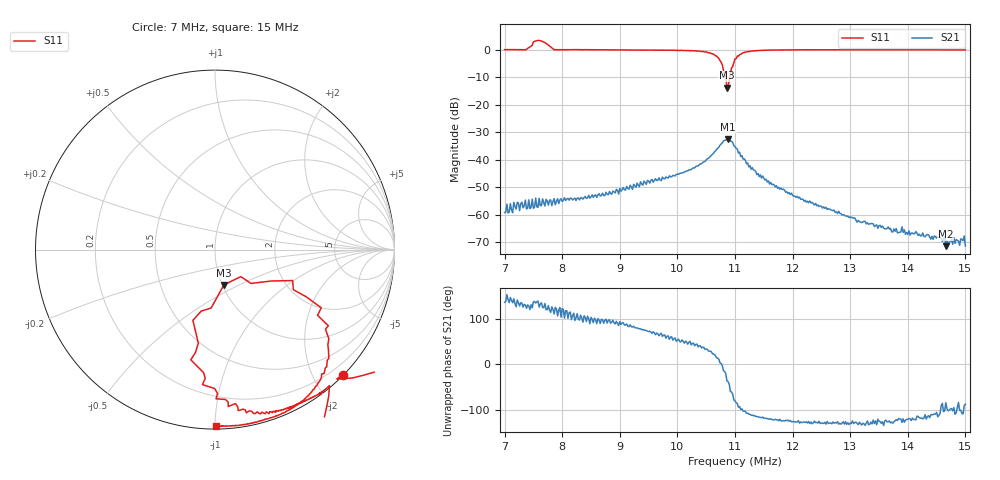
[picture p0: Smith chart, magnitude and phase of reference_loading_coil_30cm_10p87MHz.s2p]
! Measured S11/S21; S12/S22 are placeholders, NOT measurements. Calibration unverified.
! [Saver CAL applied] C:\Users\aknya\MyProjects\rf-simulator\calibration2.cal | Ideal standards assumed | Input: NanoVNA F V2 profile | COM3 | 2026-10-04T10:12:13.1310994-04:00 | device calibration unverified
# HZ S RI R 50
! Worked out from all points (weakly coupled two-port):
!   401 points, 7 MHz to 15 MHz, reference 50 ohm
!   highest |S21| = -32.54 dB at 10.88 MHz (marker M1); lowest = -71.4 dB at 14.66 MHz (marker M2)
!   lowest |S11| = -13.9 dB at 10.86 MHz (marker M3), VSWR 1.51, Z = 50.9 - j20.9 ohm
!   |S11| at or under -10 dB: 10.84 MHz to 10.91 MHz (69.27 kHz wide, 0.637 % of centre)
!   S12 and S22 are empty: the file has one direction only
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7000000  0.711 -0.696  -0.00078 0.000768  0 0  0 0
7340000  0.6828 -0.7198  -0.000944 0.00109  0 0  0 0
7440000  0.8871 -0.683  -0.00064 0.00113  0 0  0 0
7540000  -0.4167 -1.368  -0.00139 0.00145  0 0  0 0
7640000  0.1306 -1.421  -0.00103 0.00105  0 0  0 0
7780000  0.5851 -0.9987  -0.000865 0.00162  0 0  0 0
7900000  0.6325 -0.7634  -0.000896 0.0015  0 0  0 0
8340000  0.5906 -0.7961  -0.000372 0.002  0 0  0 0
9680000  0.42 -0.8784  0.00216 0.00414  0 0  0 0
1.022e7  0.2855 -0.9046  0.0042 0.00503  0 0  0 0
1.058e7  0.0737 -0.85  0.0103 0.00564  0 0  0 0
1.068e7  -0.0697 -0.7523  0.0147 0.00384  0 0  0 0
1.078e7  -0.0928 -0.5216  0.0202 -0.000936  0 0  0 0
1.086e7  0.0497 -0.1965  0.019 -0.0138  0 0  0 0
1.088e7  0.1441 -0.1504  0.0187 -0.0144  0 0  0 0
1.1e7  0.5919 -0.3242  0.00323 -0.017  0 0  0 0
1.118e7  0.6223 -0.6533  -0.0021 -0.0095  0 0  0 0
1.136e7  0.5521 -0.7779  -0.00243 -0.00563  0 0  0 0
1.234e7  0.338 -0.9276  -0.00106 -0.0013  0 0  0 0
1.368e7  0.164 -0.9746  -0.000301 -0.000459  0 0  0 0
1.466e7  0.0464 -0.9815  3e-05 -0.000267  0 0  0 0
1.5e7  0.00632 -0.9843  1.5e-05 -0.00027  0 0  0 0
